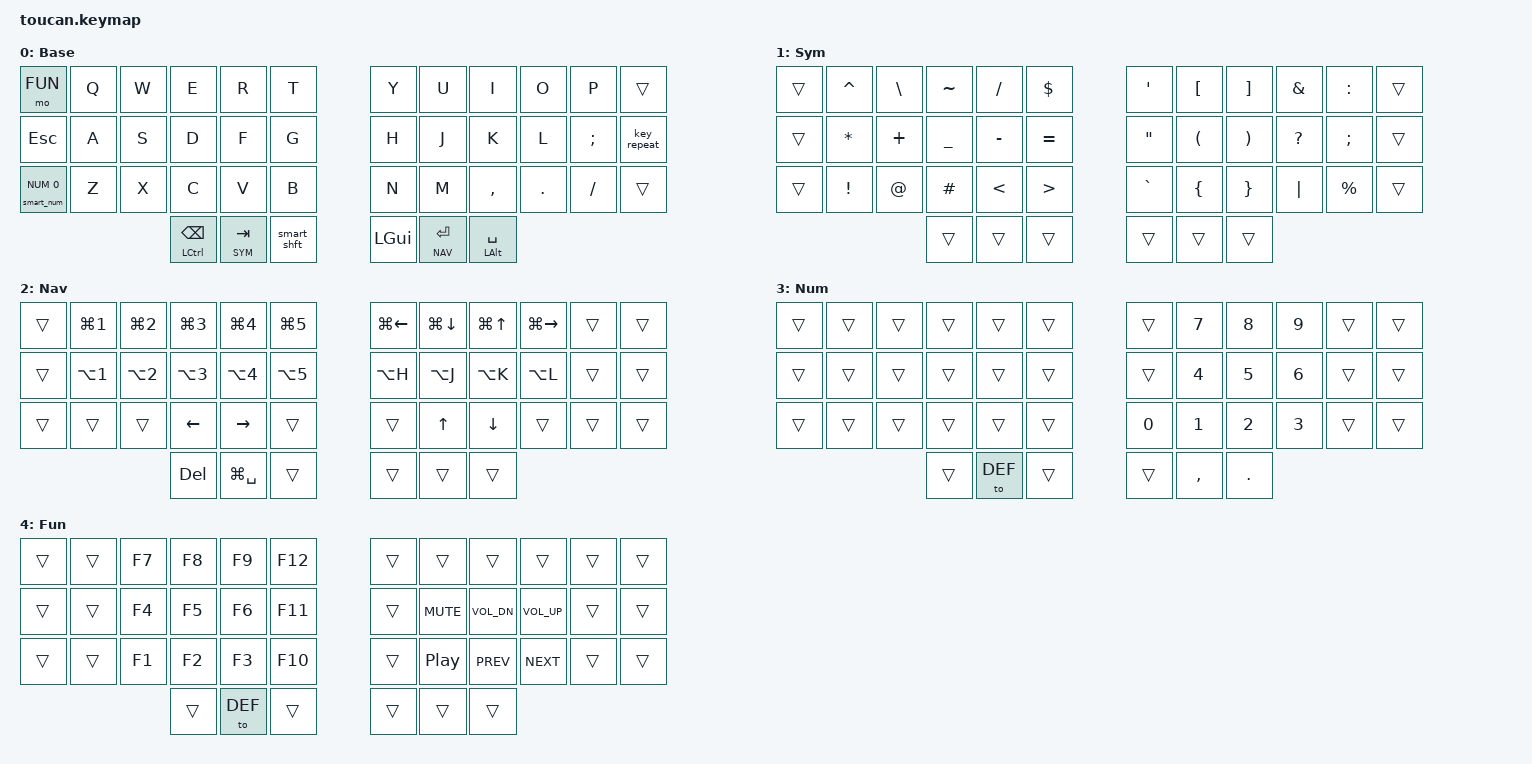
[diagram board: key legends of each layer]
#include <behaviors.dtsi>
#include <dt-bindings/zmk/outputs.h>
#include <dt-bindings/zmk/keys.h>
#include <dt-bindings/zmk/bt.h>
#include "zmk-helpers/helper.h"
#include <behaviors/num_word.dtsi>

#define DEF 0
#define SYM 1
#define NAV 2
#define NUM 3
#define FUN 4

#define QUICK_TAP_MS 175

&sk {  // sticky-key config
    release-after-ms = <900>;  // release after 0.9s
    quick-release;             // no double capitalization when rolling keys
};

&sl {  // sticky-layer config
    ignore-modifiers;          // allow chording sticky mods & layers
};

&lt {  // layer-tap config
    flavor = "balanced";
    tapping-term-ms = <200>;
    quick-tap-ms = <QUICK_TAP_MS>;
};

&mt { // mod-tap config
    tapping-term-ms = <200>;
    flavor = "tap-preferred";
};

// tap: num-word | double-tap: sticky num-layer | hold: num-layer
#define _SMART_NUM &smart_num NUM 0
ZMK_HOLD_TAP(smart_num,
    flavor = "balanced";
    tapping-term-ms = <200>;
    quick-tap-ms = <QUICK_TAP_MS>;
    bindings = <&mo>, <&num_dance>;
)
ZMK_TAP_DANCE(num_dance,
    tapping-term-ms = <200>;
    bindings = <&num_word NUM>, <&sl NUM>;  // reverse this for sticky-num on single tap
)
&num_word {  // num-word, from zmk-auto-layer module
    continue-list = <BSPC DEL DOT COMMA PLUS MINUS STAR FSLH EQUAL>;
};

// tap: sticky-shift | shift + tap/ double-tap: caps-word | hold: shift
ZMK_MOD_MORPH(smart_shft,
    bindings = <&sk LSHFT>, <&caps_word>;
    mods = <(MOD_LSFT)>;
)

/ {
    keymap {
        compatible = "zmk,keymap";

        layer_Base {
            display-name = "Base";
            bindings = <
//    ┌────────────┬─────┬─────┬─────┬─────┬─────┐         ┌─────┬─────┬─────┬─────┬─────┬────────────┐
//    │   mo FUN   │  Q  │  W  │  E  │  R  │  T  │         │  Y  │  U  │  I  │  O  │  P  │            │
//    ├────────────┼─────┼─────┼─────┼─────┼─────┤         ├─────┼─────┼─────┼─────┼─────┼────────────┤
//    │    ESC     │  A  │  S  │  D  │  F  │  G  │         │  H  │  J  │  K  │  L  │  ;  │ key_repeat │
//    ├────────────┼─────┼─────┼─────┼─────┼─────┤         ├─────┼─────┼─────┼─────┼─────┼────────────┤
//    │ _SMART_NUM │  Z  │  X  │  C  │  V  │  B  │         │  N  │  M  │  ,  │  .  │  /  │            │
//    └────────────┴─────┴─────┴─────┴─────┴─────┘         └─────┴─────┴─────┴─────┴─────┴────────────┘
//                      ┌─────────────┬────────────┬─────────────┐ ┌────────────┬────────────┬──────┐
//                      │ smart_shft  │ lctl/bspc  │  sym/tab    │ │  nav/ret   │  lalt/spc  │ lgui │
//                      └─────────────┴────────────┴─────────────┘ └────────────┴────────────┴──────┘
    &mo FUN      &kp Q   &kp W   &kp E   &kp R   &kp T       &kp Y   &kp U   &kp I       &kp O     &kp P      &trans
    &kp ESC      &kp A   &kp S   &kp D   &kp F   &kp G       &kp H   &kp J   &kp K       &kp L     &kp SEMI   &key_repeat
    _SMART_NUM   &kp Z   &kp X   &kp C   &kp V   &kp B       &kp N   &kp M   &kp COMMA   &kp DOT   &kp FSLH   &trans
                    &mt LCTRL BSPC   &lt SYM TAB   &smart_shft       &kp LGUI   &lt NAV RET   &mt LALT SPACE
            >;
        };

        layer_Sym {
            display-name = "Sym";
            bindings = <
//    ┌─────┬─────┬─────┬─────┬─────┬─────┐         ┌─────┬─────┬─────┬─────┬─────┬─────┐
//    │     │  ^  │  \  │  ~  │  /  │  $  │         │  '  │  [  │  ]  │  &  │  :  │     │
//    ├─────┼─────┼─────┼─────┼─────┼─────┤         ├─────┼─────┼─────┼─────┼─────┼─────┤
//    │     │  *  │  +  │  _  │  -  │  =  │         │  "  │  (  │  )  │  ?  │  ;  │     │
//    ├─────┼─────┼─────┼─────┼─────┼─────┤         ├─────┼─────┼─────┼─────┼─────┼─────┤
//    │     │  !  │  @  │  #  │  <  │  >  │         │  `  │  {  │  }  │  |  │  %  │     │
//    └─────┴─────┴─────┴─────┴─────┴─────┘         └─────┴─────┴─────┴─────┴─────┴─────┘
//                      ┌─────┬─────┬─────┐         ┌─────┬─────┬─────┐
//                      │     │     │     │         │     │     │     │
//                      └─────┴─────┴─────┘         └─────┴─────┴─────┘
    &trans   &kp CARET   &kp BSLH   &kp TILDE   &kp FSLH    &kp DLLR       &kp SQT     &kp LBKT   &kp RBKT   &kp AMPS    &kp COLON   &trans
    &trans   &kp STAR    &kp PLUS   &kp UNDER   &kp MINUS   &kp EQUAL      &kp DQT     &kp LPAR   &kp RPAR   &kp QMARK   &kp SEMI    &trans
    &trans   &kp EXCL    &kp AT     &kp HASH    &kp LT      &kp GT         &kp GRAVE   &kp LBRC   &kp RBRC   &kp PIPE    &kp PRCNT   &trans
                                    &trans   &trans   &trans       &trans   &trans   &trans
            >;
        };

        layer_Nav {
            display-name = "Nav";
            bindings = <
//    ┌─────┬─────────┬─────────┬─────────┬─────────┬─────────┐         ┌────────────┬────────────┬──────────┬────────────┬─────┬─────┐
//    │     │ lgui(1) │ lgui(2) │ lgui(3) │ lgui(4) │ lgui(5) │         │ lgui(left) │ lgui(down) │ lgui(up) │ lgui(rght) │     │     │
//    ├─────┼─────────┼─────────┼─────────┼─────────┼─────────┤         ├────────────┼────────────┼──────────┼────────────┼─────┼─────┤
//    │     │ lalt(1) │ lalt(2) │ lalt(3) │ lalt(4) │ lalt(5) │         │   lalt(H)  │   lalt(J)  │ lalt(K)  │   lalt(L)  │     │     │
//    ├─────┼─────────┼─────────┼─────────┼─────────┼─────────┤         ├────────────┼────────────┼──────────┼────────────┼─────┼─────┤
//    │     │         │         │  left   │  rght   │         │         │            │     up     │   down   │            │     │     │
//    └─────┴─────────┴─────────┴─────────┴─────────┴─────────┘         └────────────┴────────────┴──────────┴────────────┴─────┴─────┘
//                              ┌─────┬─────┬───────────┐                     ┌─────┬─────┬─────┐
//                              │     │ del │ lgui(spc) │                     │     │     │     │
//                              └─────┴─────┴───────────┘                     └─────┴─────┴─────┘
    &trans   &kp LG(N1)   &kp LG(N2)   &kp LG(N3)   &kp LG(N4)   &kp LG(N5)      &kp LG(LEFT)   &kp LG(DOWN)   &kp LG(UP)   &kp LG(RIGHT)   &trans   &trans
    &trans   &kp LA(N1)   &kp LA(N2)   &kp LA(N3)   &kp LA(N4)   &kp LA(N5)      &kp LA(H)      &kp LA(J)      &kp LA(K)    &kp LA(L)       &trans   &trans
    &trans   &trans       &trans       &kp LEFT     &kp RIGHT    &trans          &trans         &kp UP         &kp DOWN     &trans          &trans   &trans
                                       &kp DEL   &kp LG(SPACE)   &trans       &trans   &trans   &trans
            >;
        };

        layer_Num {
            display-name = "Num";
            bindings = <
//    ┌─────┬─────┬─────┬─────┬─────┬─────┐         ┌─────┬─────┬─────┬─────┬─────┬─────┐
//    │     │     │     │     │     │     │         │     │  7  │  8  │  9  │     │     │
//    ├─────┼─────┼─────┼─────┼─────┼─────┤         ├─────┼─────┼─────┼─────┼─────┼─────┤
//    │     │     │     │     │     │     │         │     │  4  │  5  │  6  │     │     │
//    ├─────┼─────┼─────┼─────┼─────┼─────┤         ├─────┼─────┼─────┼─────┼─────┼─────┤
//    │     │     │     │     │     │     │         │  0  │  1  │  2  │  3  │     │     │
//    └─────┴─────┴─────┴─────┴─────┴─────┘         └─────┴─────┴─────┴─────┴─────┴─────┘
//                      ┌─────┬─────┬────────┐      ┌─────┬─────┬─────┐
//                      │     │     │ to DEF │      │     │  ,  │  .  │
//                      └─────┴─────┴────────┘      └─────┴─────┴─────┘
    &trans   &trans   &trans   &trans   &trans   &trans       &trans   &kp N7      &kp N8    &kp N9   &trans   &trans
    &trans   &trans   &trans   &trans   &trans   &trans       &trans   &kp N4      &kp N5    &kp N6   &trans   &trans
    &trans   &trans   &trans   &trans   &trans   &trans       &kp N0   &kp N1      &kp N2    &kp N3   &trans   &trans
                               &trans   &to DEF   &trans       &trans   &kp COMMA   &kp DOT
            >;
        };

        layer_Fun {
            display-name = "Fun";
            bindings = <
//    ┌─────┬─────┬─────┬─────┬─────┬─────┐         ┌─────┬─────┬─────┬─────┬─────┬─────┐
//    │     │     │ F7  │ F8  │ F9  │ F12 │         │     │     │     │     │     │     │
//    ├─────┼─────┼─────┼─────┼─────┼─────┤         ├─────┼─────┼─────┼─────┼─────┼─────┤
//    │     │     │ F4  │ F5  │ F6  │ F11 │         │     │mute │vol- │vol+ │     │     │
//    ├─────┼─────┼─────┼─────┼─────┼─────┤         ├─────┼─────┼─────┼─────┼─────┼─────┤
//    │     │     │ F1  │ F2  │ F3  │ F10 │         │     │ pp  │prev │next │     │     │
//    └─────┴─────┴─────┴─────┴─────┴─────┘         └─────┴─────┴─────┴─────┴─────┴─────┘
//                      ┌─────┬─────┬────────┐      ┌─────┬─────┬─────┐
//                      │     │     │ to DEF │      │     │     │     │
//                      └─────┴─────┴────────┘      └─────┴─────┴─────┘
    &trans   &trans   &kp F7   &kp F8   &kp F9   &kp F12      &trans   &trans       &trans         &trans         &trans   &trans
    &trans   &trans   &kp F4   &kp F5   &kp F6   &kp F11      &trans   &kp C_MUTE   &kp C_VOL_DN   &kp C_VOL_UP   &trans   &trans
    &trans   &trans   &kp F1   &kp F2   &kp F3   &kp F10      &trans   &kp C_PP     &kp C_PREV     &kp C_NEXT     &trans   &trans
                               &trans   &to DEF   &trans       &trans   &trans   &trans
            >;
        };

    };
};
